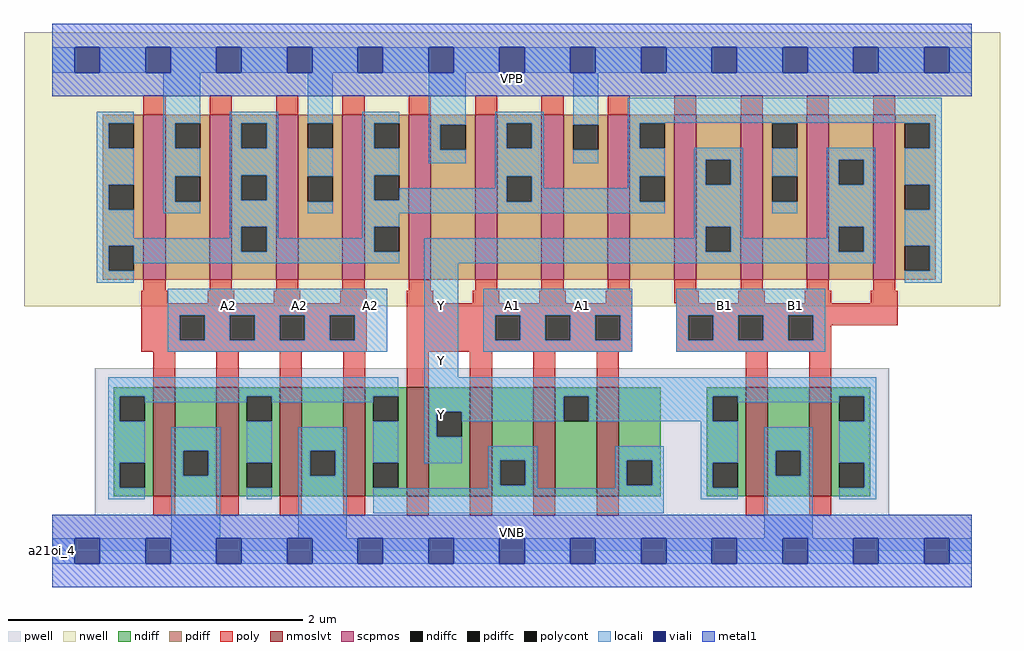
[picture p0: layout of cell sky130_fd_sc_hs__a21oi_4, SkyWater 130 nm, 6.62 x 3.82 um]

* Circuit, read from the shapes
.subckt sky130_fd_sc_hs__a21oi_4 A1 A2 B1 VGND VNB VPB VPWR Y
XM1 VGND A2 n1 VNB sky130_fd_pr__nfet_01v8_lvt w=0.74 l=0.15 m=4
XM2 Y A1 n1 VNB sky130_fd_pr__nfet_01v8_lvt w=0.74 l=0.15 m=4
XM3 VGND B1 Y VNB sky130_fd_pr__nfet_01v8_lvt w=0.74 l=0.15 m=2
XM4 VPWR A2 n2 VPB sky130_fd_pr__pfet_01v8 w=1.12 l=0.15 m=4
XM5 VPWR A1 n2 VPB sky130_fd_pr__pfet_01v8 w=1.12 l=0.15 m=4
XM6 Y B1 n2 VPB sky130_fd_pr__pfet_01v8 w=1.12 l=0.15 m=4
.ends

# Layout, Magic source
magic
tech sky130A
magscale 1 2
<< nwell >>
rect -38 332 1286 704
<< pwell >>
rect 58 49 1136 248
rect 0 0 1248 49
<< scpmos >>
rect 124 368 154 592
rect 214 368 244 592
rect 304 368 334 592
rect 394 368 424 592
rect 484 368 514 592
rect 574 368 604 592
rect 664 368 694 592
rect 754 368 784 592
rect 844 368 874 592
rect 934 368 964 592
rect 1024 368 1054 592
rect 1114 368 1144 592
<< nmoslvt >>
rect 137 74 167 222
rect 223 74 253 222
rect 309 74 339 222
rect 395 74 425 222
rect 481 74 511 222
rect 567 74 597 222
rect 653 74 683 222
rect 739 74 769 222
rect 941 74 971 222
rect 1027 74 1057 222
<< ndiff >>
rect 84 210 137 222
rect 84 176 92 210
rect 126 176 137 210
rect 84 120 137 176
rect 84 86 92 120
rect 126 86 137 120
rect 84 74 137 86
rect 167 136 223 222
rect 167 102 178 136
rect 212 102 223 136
rect 167 74 223 102
rect 253 210 309 222
rect 253 176 264 210
rect 298 176 309 210
rect 253 120 309 176
rect 253 86 264 120
rect 298 86 309 120
rect 253 74 309 86
rect 339 136 395 222
rect 339 102 350 136
rect 384 102 395 136
rect 339 74 395 102
rect 425 210 481 222
rect 425 176 436 210
rect 470 176 481 210
rect 425 120 481 176
rect 425 86 436 120
rect 470 86 481 120
rect 425 74 481 86
rect 511 189 567 222
rect 511 155 522 189
rect 556 155 567 189
rect 511 74 567 155
rect 597 123 653 222
rect 597 89 608 123
rect 642 89 653 123
rect 597 74 653 89
rect 683 210 739 222
rect 683 176 694 210
rect 728 176 739 210
rect 683 74 739 176
rect 769 123 826 222
rect 769 89 780 123
rect 814 89 826 123
rect 769 74 826 89
rect 888 210 941 222
rect 888 176 896 210
rect 930 176 941 210
rect 888 120 941 176
rect 888 86 896 120
rect 930 86 941 120
rect 888 74 941 86
rect 971 136 1027 222
rect 971 102 982 136
rect 1016 102 1027 136
rect 971 74 1027 102
rect 1057 210 1110 222
rect 1057 176 1068 210
rect 1102 176 1110 210
rect 1057 120 1110 176
rect 1057 86 1068 120
rect 1102 86 1110 120
rect 1057 74 1110 86
<< pdiff >>
rect 69 580 124 592
rect 69 546 77 580
rect 111 546 124 580
rect 69 497 124 546
rect 69 463 77 497
rect 111 463 124 497
rect 69 414 124 463
rect 69 380 77 414
rect 111 380 124 414
rect 69 368 124 380
rect 154 580 214 592
rect 154 546 167 580
rect 201 546 214 580
rect 154 508 214 546
rect 154 474 167 508
rect 201 474 214 508
rect 154 368 214 474
rect 244 580 304 592
rect 244 546 257 580
rect 291 546 304 580
rect 244 510 304 546
rect 244 476 257 510
rect 291 476 304 510
rect 244 440 304 476
rect 244 406 257 440
rect 291 406 304 440
rect 244 368 304 406
rect 334 580 394 592
rect 334 546 347 580
rect 381 546 394 580
rect 334 508 394 546
rect 334 474 347 508
rect 381 474 394 508
rect 334 368 394 474
rect 424 580 484 592
rect 424 546 437 580
rect 471 546 484 580
rect 424 510 484 546
rect 424 476 437 510
rect 471 476 484 510
rect 424 440 484 476
rect 424 406 437 440
rect 471 406 484 440
rect 424 368 484 406
rect 514 578 574 592
rect 514 544 527 578
rect 561 544 574 578
rect 514 368 574 544
rect 604 580 664 592
rect 604 546 617 580
rect 651 546 664 580
rect 604 508 664 546
rect 604 474 617 508
rect 651 474 664 508
rect 604 368 664 474
rect 694 578 754 592
rect 694 544 707 578
rect 741 544 754 578
rect 694 368 754 544
rect 784 580 844 592
rect 784 546 797 580
rect 831 546 844 580
rect 784 508 844 546
rect 784 474 797 508
rect 831 474 844 508
rect 784 368 844 474
rect 874 531 934 592
rect 874 497 887 531
rect 921 497 934 531
rect 874 440 934 497
rect 874 406 887 440
rect 921 406 934 440
rect 874 368 934 406
rect 964 580 1024 592
rect 964 546 977 580
rect 1011 546 1024 580
rect 964 508 1024 546
rect 964 474 977 508
rect 1011 474 1024 508
rect 964 368 1024 474
rect 1054 531 1114 592
rect 1054 497 1067 531
rect 1101 497 1114 531
rect 1054 440 1114 497
rect 1054 406 1067 440
rect 1101 406 1114 440
rect 1054 368 1114 406
rect 1144 580 1199 592
rect 1144 546 1157 580
rect 1191 546 1199 580
rect 1144 497 1199 546
rect 1144 463 1157 497
rect 1191 463 1199 497
rect 1144 414 1199 463
rect 1144 380 1157 414
rect 1191 380 1199 414
rect 1144 368 1199 380
<< ndiffc >>
rect 92 176 126 210
rect 92 86 126 120
rect 178 102 212 136
rect 264 176 298 210
rect 264 86 298 120
rect 350 102 384 136
rect 436 176 470 210
rect 436 86 470 120
rect 522 155 556 189
rect 608 89 642 123
rect 694 176 728 210
rect 780 89 814 123
rect 896 176 930 210
rect 896 86 930 120
rect 982 102 1016 136
rect 1068 176 1102 210
rect 1068 86 1102 120
<< pdiffc >>
rect 77 546 111 580
rect 77 463 111 497
rect 77 380 111 414
rect 167 546 201 580
rect 167 474 201 508
rect 257 546 291 580
rect 257 476 291 510
rect 257 406 291 440
rect 347 546 381 580
rect 347 474 381 508
rect 437 546 471 580
rect 437 476 471 510
rect 437 406 471 440
rect 527 544 561 578
rect 617 546 651 580
rect 617 474 651 508
rect 707 544 741 578
rect 797 546 831 580
rect 797 474 831 508
rect 887 497 921 531
rect 887 406 921 440
rect 977 546 1011 580
rect 977 474 1011 508
rect 1067 497 1101 531
rect 1067 406 1101 440
rect 1157 546 1191 580
rect 1157 463 1191 497
rect 1157 380 1191 414
<< poly >>
rect 124 592 154 618
rect 214 592 244 618
rect 304 592 334 618
rect 394 592 424 618
rect 484 592 514 618
rect 574 592 604 618
rect 664 592 694 618
rect 754 592 784 618
rect 844 592 874 618
rect 934 592 964 618
rect 1024 592 1054 618
rect 1114 592 1144 618
rect 124 353 154 368
rect 214 353 244 368
rect 304 353 334 368
rect 394 353 424 368
rect 484 353 514 368
rect 574 353 604 368
rect 664 353 694 368
rect 754 353 784 368
rect 844 353 874 368
rect 934 353 964 368
rect 1024 353 1054 368
rect 1114 353 1144 368
rect 121 336 157 353
rect 211 336 247 353
rect 301 336 337 353
rect 391 336 427 353
rect 121 320 427 336
rect 121 286 173 320
rect 207 286 241 320
rect 275 286 309 320
rect 343 286 377 320
rect 411 286 427 320
rect 121 270 427 286
rect 481 336 517 353
rect 571 336 607 353
rect 661 336 697 353
rect 751 336 787 353
rect 844 336 877 353
rect 931 336 967 353
rect 1021 336 1057 353
rect 1111 336 1147 353
rect 481 320 787 336
rect 481 286 601 320
rect 635 286 669 320
rect 703 286 737 320
rect 771 286 787 320
rect 481 270 787 286
rect 847 320 1147 336
rect 847 286 863 320
rect 897 286 931 320
rect 965 286 999 320
rect 1033 306 1147 320
rect 1033 286 1057 306
rect 847 270 1057 286
rect 137 222 167 270
rect 223 222 253 270
rect 309 222 339 270
rect 395 222 425 270
rect 481 222 511 270
rect 567 222 597 270
rect 653 222 683 270
rect 739 222 769 270
rect 941 222 971 270
rect 1027 222 1057 270
rect 137 48 167 74
rect 223 48 253 74
rect 309 48 339 74
rect 395 48 425 74
rect 481 48 511 74
rect 567 48 597 74
rect 653 48 683 74
rect 739 48 769 74
rect 941 48 971 74
rect 1027 48 1057 74
<< polycont >>
rect 173 286 207 320
rect 241 286 275 320
rect 309 286 343 320
rect 377 286 411 320
rect 601 286 635 320
rect 669 286 703 320
rect 737 286 771 320
rect 863 286 897 320
rect 931 286 965 320
rect 999 286 1033 320
<< locali >>
rect 0 649 31 683
rect 65 649 127 683
rect 161 649 223 683
rect 257 649 319 683
rect 353 649 415 683
rect 449 649 511 683
rect 545 649 607 683
rect 641 649 703 683
rect 737 649 799 683
rect 833 649 895 683
rect 929 649 991 683
rect 1025 649 1087 683
rect 1121 649 1183 683
rect 1217 649 1248 683
rect 61 580 111 596
rect 61 546 77 580
rect 61 497 111 546
rect 61 463 77 497
rect 61 424 111 463
rect 151 580 201 649
rect 151 546 167 580
rect 151 508 201 546
rect 151 474 167 508
rect 151 458 201 474
rect 241 580 307 596
rect 241 546 257 580
rect 291 546 307 580
rect 241 510 307 546
rect 241 476 257 510
rect 291 476 307 510
rect 241 440 307 476
rect 347 580 381 649
rect 347 508 381 546
rect 347 458 381 474
rect 421 580 471 596
rect 421 546 437 580
rect 421 510 471 546
rect 511 578 561 649
rect 511 544 527 578
rect 511 526 561 544
rect 601 580 667 596
rect 601 546 617 580
rect 651 546 667 580
rect 421 476 437 510
rect 601 508 667 546
rect 707 578 741 649
rect 707 526 741 544
rect 781 581 1207 615
rect 781 580 831 581
rect 781 546 797 580
rect 977 580 1011 581
rect 601 492 617 508
rect 471 476 617 492
rect 421 474 617 476
rect 651 492 667 508
rect 781 508 831 546
rect 781 492 797 508
rect 651 474 797 492
rect 421 458 831 474
rect 871 531 937 547
rect 871 497 887 531
rect 921 497 937 531
rect 241 424 257 440
rect 61 414 257 424
rect 61 380 77 414
rect 111 406 257 414
rect 291 424 307 440
rect 421 440 471 458
rect 421 424 437 440
rect 291 406 437 424
rect 871 440 937 497
rect 1157 580 1207 581
rect 977 508 1011 546
rect 977 458 1011 474
rect 1051 531 1117 547
rect 1051 497 1067 531
rect 1101 497 1117 531
rect 871 424 887 440
rect 111 390 471 406
rect 505 406 887 424
rect 921 424 937 440
rect 1051 440 1117 497
rect 1051 424 1067 440
rect 921 406 1067 424
rect 1101 406 1117 440
rect 505 390 1117 406
rect 1191 546 1207 580
rect 1157 497 1207 546
rect 1191 463 1207 497
rect 1157 414 1207 463
rect 61 364 111 380
rect 157 320 455 356
rect 157 286 173 320
rect 207 286 241 320
rect 275 286 309 320
rect 343 286 377 320
rect 411 286 455 320
rect 157 270 455 286
rect 505 236 551 390
rect 1191 380 1207 414
rect 1157 364 1207 380
rect 585 320 787 356
rect 585 286 601 320
rect 635 286 669 320
rect 703 286 737 320
rect 771 286 787 320
rect 585 270 787 286
rect 847 320 1049 356
rect 847 286 863 320
rect 897 286 931 320
rect 965 286 999 320
rect 1033 286 1049 320
rect 847 270 1049 286
rect 76 210 470 236
rect 76 176 92 210
rect 126 202 264 210
rect 76 120 126 176
rect 298 202 436 210
rect 76 86 92 120
rect 76 70 126 86
rect 162 136 228 168
rect 162 102 178 136
rect 212 102 228 136
rect 162 17 228 102
rect 264 120 298 176
rect 264 70 298 86
rect 334 136 400 168
rect 334 102 350 136
rect 384 102 400 136
rect 334 17 400 102
rect 436 120 470 176
rect 505 210 1118 236
rect 505 189 694 210
rect 505 155 522 189
rect 556 176 694 189
rect 728 176 896 210
rect 930 202 1068 210
rect 505 119 556 155
rect 592 123 658 142
rect 436 85 470 86
rect 592 89 608 123
rect 642 89 658 123
rect 592 85 658 89
rect 764 123 830 142
rect 764 89 780 123
rect 814 89 830 123
rect 764 85 830 89
rect 436 51 830 85
rect 880 120 930 176
rect 1102 176 1118 210
rect 880 86 896 120
rect 880 70 930 86
rect 966 136 1032 168
rect 966 102 982 136
rect 1016 102 1032 136
rect 966 17 1032 102
rect 1068 120 1118 176
rect 1102 86 1118 120
rect 1068 70 1118 86
rect 0 -17 31 17
rect 65 -17 127 17
rect 161 -17 223 17
rect 257 -17 319 17
rect 353 -17 415 17
rect 449 -17 511 17
rect 545 -17 607 17
rect 641 -17 703 17
rect 737 -17 799 17
rect 833 -17 895 17
rect 929 -17 991 17
rect 1025 -17 1087 17
rect 1121 -17 1183 17
rect 1217 -17 1248 17
<< viali >>
rect 31 649 65 683
rect 127 649 161 683
rect 223 649 257 683
rect 319 649 353 683
rect 415 649 449 683
rect 511 649 545 683
rect 607 649 641 683
rect 703 649 737 683
rect 799 649 833 683
rect 895 649 929 683
rect 991 649 1025 683
rect 1087 649 1121 683
rect 1183 649 1217 683
rect 31 -17 65 17
rect 127 -17 161 17
rect 223 -17 257 17
rect 319 -17 353 17
rect 415 -17 449 17
rect 511 -17 545 17
rect 607 -17 641 17
rect 703 -17 737 17
rect 799 -17 833 17
rect 895 -17 929 17
rect 991 -17 1025 17
rect 1087 -17 1121 17
rect 1183 -17 1217 17
<< metal1 >>
rect 0 683 1248 715
rect 0 649 31 683
rect 65 649 127 683
rect 161 649 223 683
rect 257 649 319 683
rect 353 649 415 683
rect 449 649 511 683
rect 545 649 607 683
rect 641 649 703 683
rect 737 649 799 683
rect 833 649 895 683
rect 929 649 991 683
rect 1025 649 1087 683
rect 1121 649 1183 683
rect 1217 649 1248 683
rect 0 617 1248 649
rect 0 17 1248 49
rect 0 -17 31 17
rect 65 -17 127 17
rect 161 -17 223 17
rect 257 -17 319 17
rect 353 -17 415 17
rect 449 -17 511 17
rect 545 -17 607 17
rect 641 -17 703 17
rect 737 -17 799 17
rect 833 -17 895 17
rect 929 -17 991 17
rect 1025 -17 1087 17
rect 1121 -17 1183 17
rect 1217 -17 1248 17
rect 0 -49 1248 -17
<< labels >>
rlabel comment s 0 0 0 0 4 a21oi_4
flabel pwell s 0 0 1248 49 0 FreeSans 200 0 0 0 VNB
port 5 nsew ground bidirectional
flabel nwell s 0 617 1248 666 0 FreeSans 200 0 0 0 VPB
port 6 nsew power bidirectional
flabel metal1 s 0 617 1248 666 0 FreeSans 340 0 0 0 VPWR
port 7 nsew power bidirectional
flabel metal1 s 0 0 1248 49 0 FreeSans 340 0 0 0 VGND
port 4 nsew ground bidirectional
flabel locali s 511 168 545 202 0 FreeSans 340 0 0 0 Y
port 8 nsew signal output
flabel locali s 511 242 545 276 0 FreeSans 340 0 0 0 Y
port 8 nsew signal output
flabel locali s 511 316 545 350 0 FreeSans 340 0 0 0 Y
port 8 nsew signal output
flabel locali s 895 316 929 350 0 FreeSans 340 0 0 0 B1
port 3 nsew signal input
flabel locali s 991 316 1025 350 0 FreeSans 340 0 0 0 B1
port 3 nsew signal input
flabel locali s 223 316 257 350 0 FreeSans 340 0 0 0 A2
port 2 nsew signal input
flabel locali s 319 316 353 350 0 FreeSans 340 0 0 0 A2
port 2 nsew signal input
flabel locali s 415 316 449 350 0 FreeSans 340 0 0 0 A2
port 2 nsew signal input
flabel locali s 607 316 641 350 0 FreeSans 340 0 0 0 A1
port 1 nsew signal input
flabel locali s 703 316 737 350 0 FreeSans 340 0 0 0 A1
port 1 nsew signal input
<< properties >>
string LEFsite unit
string LEFclass CORE
string FIXED_BBOX 0 0 1248 666
string GDS_FILE $PDKPATH/libs.ref/sky130_fd_sc_hs/gds/sky130_fd_sc_hs.gds
string LEFsymmetry X Y
string GDS_END 2535248
string GDS_START 2524982
<< end >>
